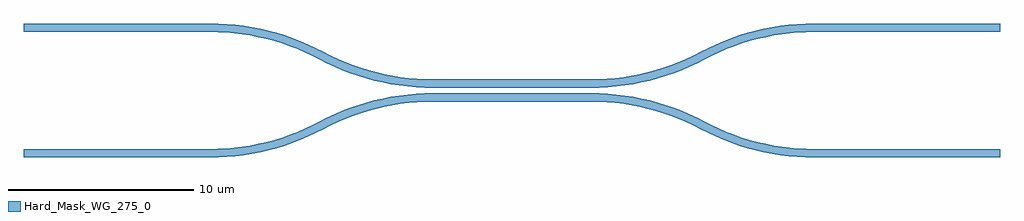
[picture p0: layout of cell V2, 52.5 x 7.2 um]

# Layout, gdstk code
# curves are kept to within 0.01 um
import gdstk
lib = gdstk.Library(unit=1e-6, precision=1e-09)
def R(c, l, rs):  # rectangles x0, y0, x1, y1
    for r in rs: c.add(gdstk.rectangle(r[:2], r[2:], *l))
def P(c, l, *ps):  # polygons
    for p in ps: c.add(gdstk.Polygon(p, *l))
Hard_Mask_WG_275_0 = (275, 0)

c_v2 = lib.new_cell('V2')
R(c_v2, Hard_Mask_WG_275_0, [(0,0,10,0.45), (42.5,0,52.5,0.45), (22,3,30.5,3.45), (22,3.75,30.5,4.2), (0,6.75,10,7.2), (42.5,6.75,52.5,7.2)])
P(c_v2, Hard_Mask_WG_275_0, [(42.5,0),(42.045,0.007),(41.14,0.07),(40.241,0.197),(39.353,0.386),(38.481,0.637),(37.628,0.948),(36.798,1.318),(36.394,1.526),(36.606,1.924),(37.394,1.538),(38.206,1.208),(38.62,1.065),(39.462,0.823),(40.319,0.641),(41.187,0.518),(42.062,0.457),(42.5,0.45)],
  [(36.394,1.526),(35.606,1.912),(34.794,2.242),(34.38,2.385),(33.538,2.627),(32.681,2.809),(31.813,2.932),(30.938,2.993),(30.5,3),(30.5,3.45),(30.955,3.443),(31.86,3.38),(32.759,3.253),(33.647,3.064),(34.519,2.813),(35.372,2.502),(35.79,2.324),(36.606,1.924)],
  [(36.606,5.276),(36.394,5.674),(37.209,6.074),(37.627,6.252),(38.48,6.563),(39.353,6.814),(40.241,7.003),(41.141,7.13),(42.046,7.193),(42.5,7.2),(42.5,6.75),(42.061,6.743),(41.186,6.682),(40.318,6.559),(39.461,6.377),(38.619,6.134),(37.796,5.834),(36.996,5.476)],
  [(30.5,3.75),(30.5,4.2),(30.939,4.207),(31.814,4.268),(32.682,4.391),(33.539,4.573),(34.381,4.816),(35.204,5.116),(36.004,5.474),(36.394,5.674),(36.606,5.276),(35.791,4.876),(35.373,4.698),(34.52,4.387),(33.647,4.136),(32.759,3.947),(31.859,3.82),(30.954,3.757)],
  [(16.106,1.526),(15.894,1.924),(16.709,2.324),(17.127,2.502),(17.98,2.813),(18.853,3.064),(19.741,3.253),(20.641,3.38),(21.546,3.443),(22,3.45),(22,3),(21.561,2.993),(20.686,2.932),(19.818,2.809),(18.961,2.627),(18.119,2.384),(17.296,2.084),(16.496,1.726)],
  [(10,0),(10,0.45),(10.439,0.457),(11.314,0.518),(12.182,0.641),(13.039,0.823),(13.881,1.066),(14.704,1.366),(15.504,1.724),(15.894,1.924),(16.106,1.526),(15.291,1.126),(14.873,0.948),(14.02,0.637),(13.147,0.386),(12.259,0.197),(11.359,0.07),(10.454,0.007)],
  [(22,3.75),(21.545,3.757),(20.64,3.82),(19.741,3.947),(18.853,4.136),(17.981,4.387),(17.128,4.698),(16.298,5.068),(15.894,5.276),(16.106,5.674),(16.894,5.288),(17.706,4.958),(18.12,4.815),(18.962,4.573),(19.819,4.391),(20.687,4.268),(21.562,4.207),(22,4.2)],
  [(15.894,5.276),(15.106,5.662),(14.294,5.992),(13.88,6.135),(13.038,6.377),(12.181,6.559),(11.313,6.682),(10.438,6.743),(10,6.75),(10,7.2),(10.455,7.193),(11.36,7.13),(12.259,7.003),(13.147,6.814),(14.019,6.563),(14.872,6.252),(15.29,6.074),(16.106,5.674)])

lib.write_gds('V2.gds')
